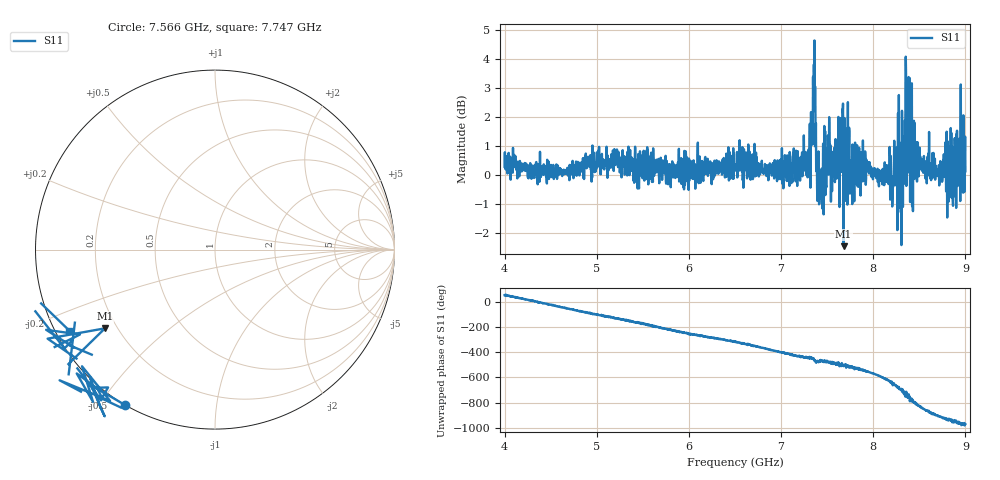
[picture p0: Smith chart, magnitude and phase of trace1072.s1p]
! Created with skrf 1.8.0 (http://scikit-rf.org).
# Hz S RI R 50.0
!freq ReS11 ImS11
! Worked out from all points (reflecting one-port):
!   1601 points, 4 GHz to 9 GHz, reference 50 ohm
!   lowest |S11| = -2.5 dB at 7.678 GHz (marker M1), VSWR 7.12, Z = 7.73 - j15.7 ohm
!   phase of S11 starts at 51 deg and turns -1023 deg over the sweep
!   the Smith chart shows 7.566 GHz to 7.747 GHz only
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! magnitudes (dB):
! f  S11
! 4 GHz  0.3
! 4.625 GHz  0.0
! 5.25 GHz  0.1
! 5.875 GHz  0.0
! 6.5 GHz  0.2
! 7.125 GHz  0.6
! 7.294 GHz  0.7
! 7.347 GHz  3.4
! 7.372 GHz  2.6
! 7.4 GHz  0.1
! 7.428 GHz  -0.2
! 7.509 GHz  1.4
! 7.566 GHz  0.0
! 7.647 GHz  1.9
! 7.678 GHz  -2.5
! 7.75 GHz  0.1
! 7.769 GHz  -0.1
! 7.891 GHz  0.5
! 8.197 GHz  0.0
! 8.253 GHz  0.1
! 8.306 GHz  -2.4
! 8.338 GHz  0.0
! 8.375 GHz  1.3
! 8.412 GHz  0.8
! 8.562 GHz  0.2
! 8.875 GHz  0.0
! 8.959 GHz  1.9
! 9 GHz  0.1
